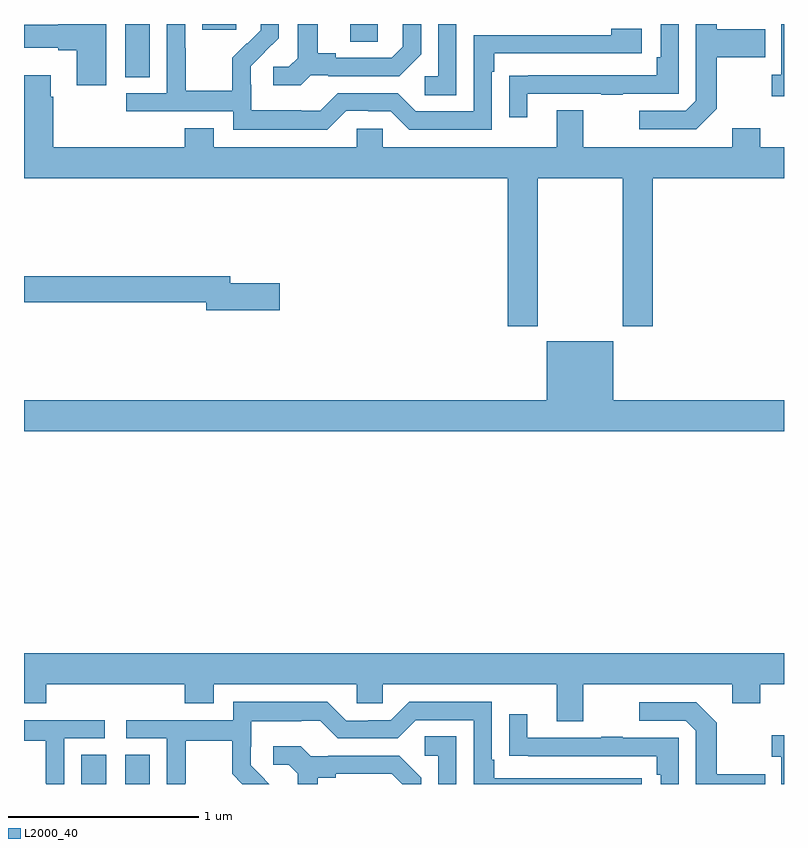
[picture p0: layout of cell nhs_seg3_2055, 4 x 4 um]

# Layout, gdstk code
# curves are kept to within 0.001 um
import gdstk
lib = gdstk.Library(unit=1e-6, precision=1e-09)
def R(c, l, rs):  # rectangles x0, y0, x1, y1
    for r in rs: c.add(gdstk.rectangle(r[:2], r[2:], *l))
def P(c, l, *ps):  # polygons
    for p in ps: c.add(gdstk.Polygon(p, *l))
L2000_40 = (2000, 40)

nhs_seg3_2055 = lib.new_cell('nhs_seg3_2055')
R(nhs_seg3_2055, L2000_40, [(217.301,692.4,217.432,692.555), (217.532,692.4,217.663,692.555), (217.532,696.121,217.663,696.4), (218.717,696.307,218.862,696.4), (217.937,696.369,218.116,696.4)])
P(nhs_seg3_2055, L2000_40, [(220.645,695.953),(220.645,696.226),(220.901,696.226),(220.901,696.373),(220.645,696.373),(220.645,696.4),(220.536,696.4),(220.536,695.997),(220.482,695.943),(220.239,695.943),(220.239,695.847),(220.539,695.847)],
  [(218.508,696.129),(218.602,696.129),(218.602,696.126),(218.974,696.126),(219.09,696.242),(219.09,696.4),(218.993,696.4),(218.993,696.279),(218.936,696.222),(218.641,696.222),(218.641,696.245),(218.545,696.245),(218.545,696.4),(218.441,696.4),(218.441,696.221),(218.394,696.174),(218.313,696.174),(218.313,696.077),(218.456,696.077)],
  [(219.649,696.033),(220.039,696.033),(220.039,696.028),(220.151,696.028),(220.151,696.033),(220.446,696.033),(220.446,696.4),(220.35,696.4),(220.35,696.226),(220.33,696.226),(220.33,696.129),(219.655,696.129),(219.655,696.128),(219.553,696.128),(219.553,695.91),(219.649,695.91)],
  [(217.432,696.4),(217.181,696.4),(217.181,696.397),(217,696.397),(217,696.275),(217.181,696.275),(217.181,696.263),(217.277,696.263),(217.277,696.078),(217.432,696.078)],
  [(219.276,696.4),(219.18,696.4),(219.18,696.126),(219.108,696.126),(219.108,696.025),(219.276,696.025)],
  [(221,696.4),(220.986,696.4),(220.986,696.134),(220.935,696.134),(220.935,696.021),(221,696.021)],
  [(218.697,695.943),(218.813,695.943),(218.813,695.94),(218.931,695.94),(219.027,695.844),(219.462,695.844),(219.462,696.149),(219.475,696.149),(219.475,696.246),(220.252,696.246),(220.252,696.376),(220.091,696.376),(220.091,696.342),(219.366,696.342),(219.366,695.94),(219.063,695.94),(218.967,696.036),(218.652,696.036),(218.559,695.943),(218.459,695.943),(218.459,695.947),(218.196,695.947),(218.196,696.081),(218.194,696.081),(218.194,696.178),(218.34,696.326),(218.34,696.4),(218.246,696.4),(218.246,696.368),(218.175,696.297),(218.172,696.3),(218.095,696.223),(218.095,696.049),(217.851,696.049),(217.851,696.272),(217.848,696.272),(217.848,696.4),(217.752,696.4),(217.752,696.036),(217.539,696.036),(217.539,695.94),(218.1,695.94),(218.1,695.843),(218.597,695.843)],
  [(219.705,695.588),(220.15,695.588),(220.15,694.809),(220.31,694.809),(220.31,695.588),(221,695.588),(221,695.752),(220.875,695.752),(220.875,695.851),(220.727,695.851),(220.727,695.752),(219.943,695.752),(219.943,695.947),(219.803,695.947),(219.803,695.752),(218.889,695.752),(218.889,695.85),(218.751,695.85),(218.751,695.752),(217.999,695.752),(217.999,695.851),(217.847,695.851),(217.847,695.752),(217.154,695.752),(217.154,696.017),(217.141,696.017),(217.141,696.13),(217.001,696.13),(217.001,695.752),(217,695.752),(217,695.588),(219.545,695.588),(219.545,694.809),(219.705,694.809)],
  [(218.347,695.036),(218.086,695.036),(218.086,695.072),(217,695.072),(217,694.936),(217.958,694.936),(217.958,694.894),(218.347,694.894)],
  [(221,694.42),(220.102,694.42),(220.102,694.729),(219.752,694.729),(219.752,694.42),(217,694.42),(217,694.256),(221,694.256)],
  [(219.943,692.924),(220.727,692.924),(220.727,692.825),(220.875,692.825),(220.875,692.924),(221,692.924),(221,693.088),(217,693.088),(217,692.825),(217.118,692.825),(217.118,692.924),(217.847,692.924),(217.847,692.825),(217.999,692.825),(217.999,692.924),(218.751,692.924),(218.751,692.826),(218.889,692.826),(218.889,692.924),(219.803,692.924),(219.803,692.73),(219.943,692.73)],
  [(217.848,692.404),(217.851,692.404),(217.851,692.628),(218.095,692.628),(218.095,692.453),(218.148,692.4),(218.29,692.4),(218.267,692.423),(218.268,692.424),(218.194,692.498),(218.194,692.595),(218.196,692.595),(218.196,692.729),(218.459,692.729),(218.459,692.733),(218.559,692.733),(218.652,692.64),(218.967,692.64),(219.063,692.736),(219.366,692.736),(219.366,692.4),(220.252,692.4),(220.252,692.43),(219.475,692.43),(219.475,692.527),(219.462,692.527),(219.462,692.832),(219.027,692.832),(218.931,692.736),(218.813,692.736),(218.813,692.733),(218.697,692.733),(218.597,692.833),(218.1,692.833),(218.1,692.736),(217.539,692.736),(217.539,692.64),(217.752,692.64),(217.752,692.4),(217.848,692.4)],
  [(220.901,692.451),(220.645,692.451),(220.645,692.723),(220.539,692.829),(220.239,692.829),(220.239,692.733),(220.482,692.733),(220.536,692.679),(220.536,692.4),(220.901,692.4)],
  [(220.446,692.643),(220.151,692.643),(220.151,692.648),(220.039,692.648),(220.039,692.643),(219.649,692.643),(219.649,692.767),(219.553,692.767),(219.553,692.548),(219.655,692.548),(219.655,692.547),(220.33,692.547),(220.33,692.45),(220.35,692.45),(220.35,692.4),(220.446,692.4)],
  [(217.212,692.64),(217.426,692.64),(217.426,692.736),(217,692.736),(217,692.628),(217.114,692.628),(217.114,692.404),(217.116,692.404),(217.116,692.4),(217.212,692.4)],
  [(221,692.656),(220.935,692.656),(220.935,692.543),(220.986,692.543),(220.986,692.4),(221,692.4)],
  [(219.276,692.651),(219.108,692.651),(219.108,692.55),(219.18,692.55),(219.18,692.4),(219.276,692.4)],
  [(218.545,692.432),(218.641,692.432),(218.641,692.454),(218.936,692.454),(218.99,692.4),(219.09,692.4),(219.09,692.434),(218.974,692.55),(218.602,692.55),(218.602,692.547),(218.508,692.547),(218.456,692.599),(218.313,692.599),(218.313,692.502),(218.394,692.502),(218.441,692.455),(218.441,692.4),(218.545,692.4)])

lib.write_gds('nhs_seg3_2055.gds')
